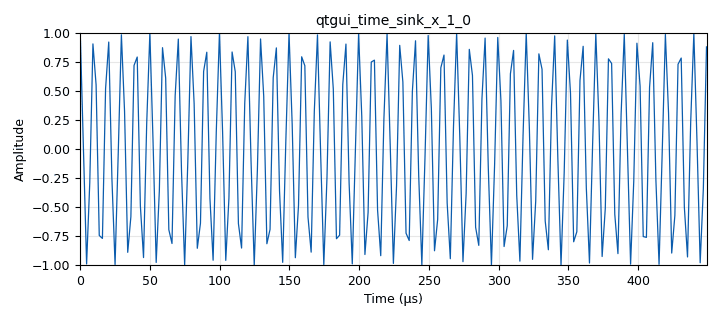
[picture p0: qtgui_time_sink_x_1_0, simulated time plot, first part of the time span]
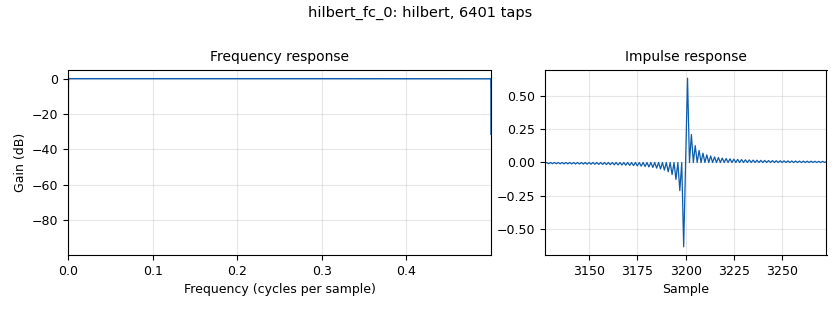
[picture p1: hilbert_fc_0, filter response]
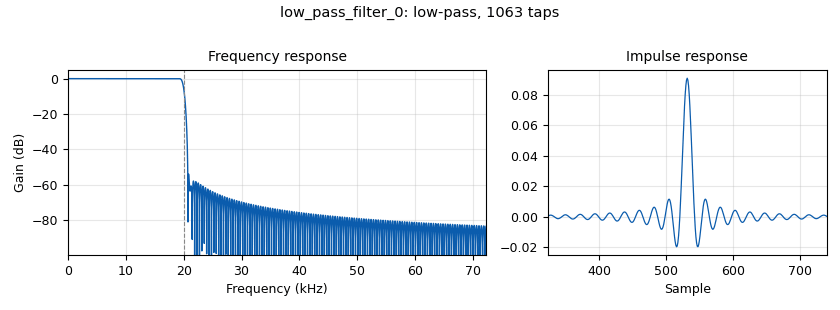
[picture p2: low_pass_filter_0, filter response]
options:
  parameters:
    generate_options: qt_gui
    id: midsem
    output_language: python
    title: midsem
  states: {}

blocks:
- name: delay0
  id: variable_qtgui_range
  parameters:
    label: delay0
    start: '-180'
    step: '1'
    stop: '180'
    value: '0'
  states: {}
- name: delay1
  id: variable_qtgui_range
  parameters:
    label: delay1
    start: '-3.5'
    step: '0.01'
    stop: '3.5'
    value: '0'
  states: {}
- name: samp_rate
  id: variable
  parameters:
    value: '441000'
  states: {}
- name: analog_sig_source_x_0
  id: analog_sig_source_x
  parameters:
    amp: '1'
    freq: '100000'
    offset: '0'
    phase: delay1
    samp_rate: samp_rate
    type: float
    waveform: analog.GR_COS_WAVE
  states: {}
- name: analog_sig_source_x_0_0
  id: analog_sig_source_x
  parameters:
    amp: '1'
    freq: '100000'
    offset: '0'
    phase: delay1
    samp_rate: samp_rate
    type: float
    waveform: analog.GR_SIN_WAVE
  states: {}
- name: audio_sink_0
  id: audio_sink
  parameters:
    samp_rate: '44100'
  states: {}
- name: audio_sink_0_0
  id: audio_sink
  parameters:
    samp_rate: '44100'
  states: {state: disabled}
- name: audio_sink_0_1
  id: audio_sink
  parameters:
    samp_rate: '44100'
  states: {state: disabled}
- name: blocks_add_xx_0
  id: blocks_add_xx
  parameters:
    type: float
  states: {}
- name: blocks_add_xx_0_0
  id: blocks_add_xx
  parameters:
    type: float
  states: {}
- name: blocks_complex_to_imag_0
  id: blocks_complex_to_imag
  parameters: {}
  states: {}
- name: blocks_complex_to_real_0
  id: blocks_complex_to_real
  parameters: {}
  states: {}
- name: blocks_file_source_0
  id: blocks_file_source
  parameters:
    file: Double_SSB.dat
    repeat: 'True'
    type: float
  states: {}
- name: blocks_multiply_const_vxx_0
  id: blocks_multiply_const_vxx
  parameters:
    const: '-1'
    type: float
  states: {}
- name: blocks_multiply_const_vxx_0_0
  id: blocks_multiply_const_vxx
  parameters:
    const: '-1'
    type: float
  states: {state: disabled}
- name: blocks_multiply_xx_0
  id: blocks_multiply_xx
  parameters:
    type: float
  states: {}
- name: blocks_multiply_xx_0_0
  id: blocks_multiply_xx
  parameters:
    type: float
  states: {}
- name: blocks_throttle_0
  id: blocks_throttle
  parameters:
    samples_per_second: samp_rate
    type: float
  states: {}
- name: blocks_throttle_1
  id: blocks_throttle
  parameters:
    samples_per_second: samp_rate
    type: float
  states: {}
- name: hilbert_fc_0
  id: hilbert_fc
  parameters:
    num_taps: '6400'
  states: {}
- name: hilbert_fc_1
  id: hilbert_fc
  parameters:
    num_taps: '6400'
  states: {}
- name: low_pass_filter_0
  id: low_pass_filter
  parameters:
    cutoff_freq: '20000'
    decim: '1'
    gain: '1'
    samp_rate: samp_rate
    type: fir_filter_fff
    width: '1000'
    win: window.WIN_HAMMING
  states: {}
- name: low_pass_filter_0_0
  id: low_pass_filter
  parameters:
    cutoff_freq: '20000'
    decim: '1'
    gain: '1'
    samp_rate: samp_rate
    type: fir_filter_fff
    width: '1000'
    win: window.WIN_HAMMING
  states: {}
- name: qtgui_freq_sink_x_0
  id: qtgui_freq_sink_x
  parameters:
    bw: samp_rate
    fc: '0'
    fftsize: '1024'
    type: float
  states: {}
- name: qtgui_freq_sink_x_1
  id: qtgui_freq_sink_x
  parameters:
    bw: samp_rate
    fc: '0'
    fftsize: '1024'
    type: float
  states: {}
- name: qtgui_time_sink_x_0
  id: qtgui_time_sink_x
  parameters:
    size: '1024'
    srate: samp_rate
    type: float
  states: {}
- name: qtgui_time_sink_x_1
  id: qtgui_time_sink_x
  parameters:
    size: '1024'
    srate: samp_rate
    type: float
  states: {}
- name: qtgui_time_sink_x_1_0
  id: qtgui_time_sink_x
  parameters:
    size: '1024'
    srate: samp_rate
    type: float
  states: {}
- name: qtgui_time_sink_x_1_1
  id: qtgui_time_sink_x
  parameters:
    size: '1024'
    srate: samp_rate
    type: float
  states: {}
- name: rational_resampler_xxx_0
  id: rational_resampler_xxx
  parameters:
    decim: '10'
    interp: '1'
    type: fff
  states: {}
- name: rational_resampler_xxx_0_0
  id: rational_resampler_xxx
  parameters:
    decim: '10'
    interp: '1'
    type: fff
  states: {state: disabled}
- name: rational_resampler_xxx_0_1
  id: rational_resampler_xxx
  parameters:
    decim: '10'
    interp: '1'
    type: fff
  states: {state: disabled}

connections:
- [analog_sig_source_x_0, '0', blocks_multiply_xx_0, '0']
- [analog_sig_source_x_0_0, '0', blocks_multiply_const_vxx_0_0, '0']
- [analog_sig_source_x_0_0, '0', blocks_multiply_xx_0_0, '1']
- [analog_sig_source_x_0_0, '0', qtgui_time_sink_x_1_0, '0']
- [blocks_add_xx_0, '0', blocks_throttle_0, '0']
- [blocks_add_xx_0, '0', rational_resampler_xxx_0_0, '0']
- [blocks_add_xx_0_0, '0', blocks_throttle_1, '0']
- [blocks_add_xx_0_0, '0', rational_resampler_xxx_0, '0']
- [blocks_complex_to_imag_0, '0', blocks_add_xx_0, '1']
- [blocks_complex_to_imag_0, '0', blocks_multiply_const_vxx_0, '0']
- [blocks_complex_to_real_0, '0', blocks_add_xx_0, '0']
- [blocks_complex_to_real_0, '0', blocks_add_xx_0_0, '0']
- [blocks_file_source_0, '0', blocks_multiply_xx_0, '1']
- [blocks_file_source_0, '0', blocks_multiply_xx_0_0, '0']
- [blocks_file_source_0, '0', qtgui_time_sink_x_1_1, '0']
- [blocks_multiply_const_vxx_0, '0', blocks_add_xx_0_0, '1']
- [blocks_multiply_const_vxx_0_0, '0', blocks_multiply_xx_0_0, '1']
- [blocks_multiply_xx_0, '0', low_pass_filter_0_0, '0']
- [blocks_multiply_xx_0_0, '0', low_pass_filter_0, '0']
- [blocks_throttle_0, '0', qtgui_freq_sink_x_1, '0']
- [blocks_throttle_0, '0', qtgui_time_sink_x_0, '0']
- [blocks_throttle_1, '0', qtgui_freq_sink_x_0, '0']
- [blocks_throttle_1, '0', qtgui_time_sink_x_1, '0']
- [hilbert_fc_0, '0', blocks_complex_to_imag_0, '0']
- [hilbert_fc_1, '0', blocks_complex_to_real_0, '0']
- [low_pass_filter_0, '0', hilbert_fc_0, '0']
- [low_pass_filter_0_0, '0', hilbert_fc_1, '0']
- [low_pass_filter_0_0, '0', rational_resampler_xxx_0_1, '0']
- [rational_resampler_xxx_0, '0', audio_sink_0, '0']
- [rational_resampler_xxx_0_0, '0', audio_sink_0_0, '0']
- [rational_resampler_xxx_0_1, '0', audio_sink_0_1, '0']

metadata:
  file_format: 1
